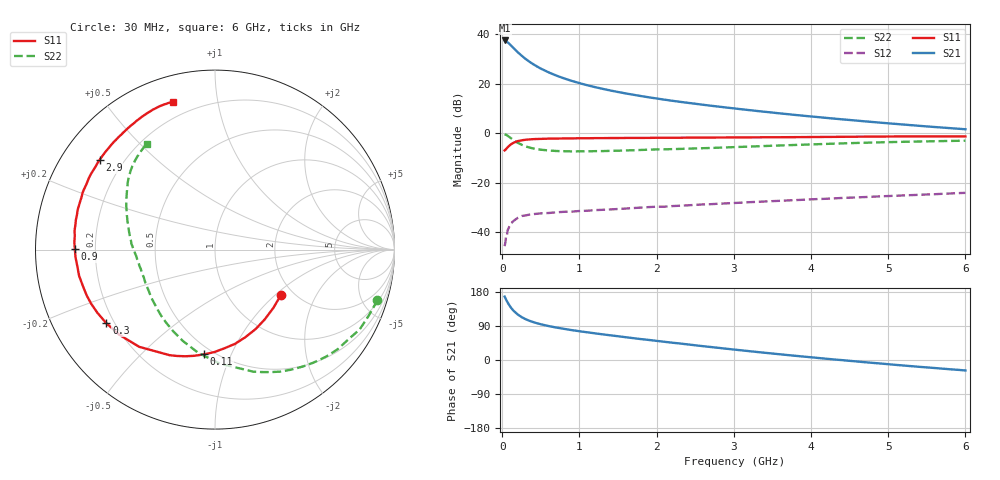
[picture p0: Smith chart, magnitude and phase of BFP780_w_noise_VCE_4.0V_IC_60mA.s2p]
! Infineon Technologies  Discrete & RF Semiconductors
! BFP780
! VCE =  4.0 V,  IC =  60 mA
! Common Emitter S-Parameters:  Jul 2015
# GHz  S  MA  R  50
!  f  S11  S21  S12  S22
! GHz  MAG  ANG  MAG  ANG  MAG  ANG  MAG  ANG
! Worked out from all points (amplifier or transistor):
!   75 points, 30 MHz to 6 GHz, reference 50 ohm
!   highest |S21| = 37.4 dB at 30 MHz (marker M1)
!   |S21| within 3 dB of that: start of sweep to 143.5 MHz
!   unconditionally stable (mu >= 1): 1.881 GHz to end of sweep
!   at 150 MHz: K = 0.15, MSG = 34.8 dB, |S12| = -35.4 dB
!   at 2.3 GHz: K = 1.11, MAG = 19.0 dB, |S12| = -29.3 dB
!   at 6 GHz: K = 1.23, MAG = 9.9 dB, |S12| = -24.2 dB
!   lowest NFmin = 1.52 dB at 450 MHz
!   S11 on the Smith chart (normalised r, x): 30 MHz: 1.72, -1.09; 110 MHz: 0.45, -0.80; 300 MHz: 0.17, -0.30; 900 MHz: 0.12, +0.00; 2.9 GHz: 0.11, +0.34; 6 GHz: 0.12, +0.75
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0.03  0.446 -34.6  74.04 167.3  0.0052 74.0  0.948 -17.3
0.05  0.4775 -54.5  71.23 158.9  0.0086 63.7  0.9206 -28.9
0.07  0.5167 -70.9  67.59 151.5  0.011 63.9  0.8802 -39.2
0.09  0.5531 -84.8  63.44 144.8  0.0128 56.6  0.8355 -48.9
0.11  0.5868 -96.0  59.15 138.8  0.0148 52.2  0.7917 -57.7
0.13  0.6167 -105.5  55.1 133.7  0.016 47.6  0.7501 -65.5
0.15  0.6405 -113.3  51.22 129.2  0.017 45.7  0.7127 -72.6
0.2  0.6866 -127.9  42.92 120.1  0.0194 39.0  0.6356 -87.6
0.25  0.7133 -138.2  36.57 113.2  0.0211 34.1  0.5817 -99.4
0.3  0.7312 -145.9  31.55 107.9  0.0217 30.3  0.5398 -109.3
0.4  0.753 -156.4  24.56 100.1  0.023 26.7  0.4894 -123.9
0.5  0.7624 -163.6  20 94.3  0.0239 24.0  0.4607 -134.5
0.7  0.773 -173.4  14.47 85.6  0.0251 22.3  0.4339 -148.9
0.9  0.7806 179.9  11.3 78.9  0.0259 22.4  0.426 -158.5
1.1  0.7849 174.5  9.233 73.1  0.027 23.1  0.4272 -165.4
1.5  0.7928 166.0  6.74 62.7  0.0293 23.9  0.4398 -175.1
2.1  0.8033 155.2  4.724 48.1  0.0326 25.3  0.4689 174.7
2.9  0.814 142.2  3.28 29.8  0.038 25.2  0.5132 162.0
3.1  0.817 139.2  3.022 25.5  0.0393 25.2  0.5264 158.8
4.1  0.8332 125.2  2.092 5.2  0.0466 23.2  0.5966 145.2
5.1  0.8532 114.0  1.528 -12.9  0.0542 19.3  0.66 133.3
6  0.8571 105.8  1.193 -27.6  0.062 14.3  0.7018 122.7
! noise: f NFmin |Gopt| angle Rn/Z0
0.45  1.52  0.42  178  0.07
0.9  1.57  0.46  -170  0.08
1.5  1.63  0.48  -162  0.08
1.8  1.8  0.49  -154  0.09
2.4  1.92  0.5  -147  0.13
3  2.2  0.51  -138  0.18
3.5  2.67  0.56  -122  0.29
